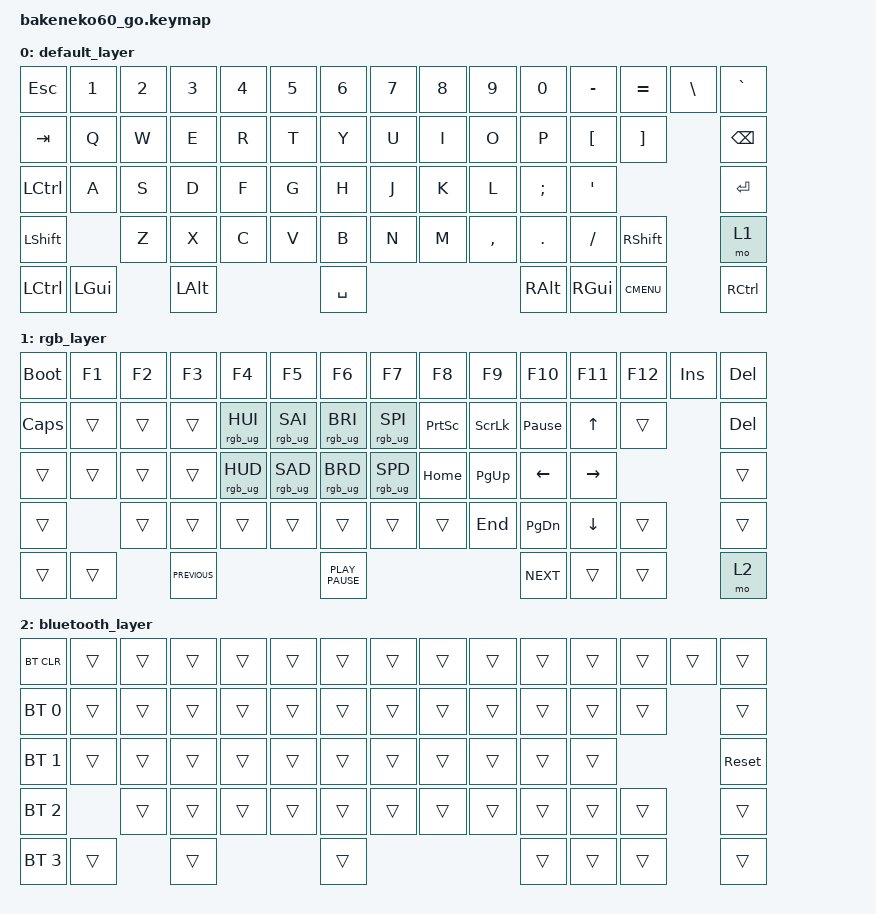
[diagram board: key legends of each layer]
/*
 * Copyright (c) 2023 Andrew Kannan
 *
 * SPDX-License-Identifier: MIT
 */

#include <behaviors.dtsi>
#include <dt-bindings/zmk/bt.h>
#include <dt-bindings/zmk/keys.h>
#include <dt-bindings/zmk/rgb.h>

/ {
    keymap {
        compatible = "zmk,keymap";

        default_layer {
            // ------------------------------------------------------------------------------------------
            // | ESC |  1  |  2  |  3  |  4  |  5  |  6  |  7  |  8  |  9  |  0  |  -  |  =  | BKSP|BKSP|
            // | TAB  |  Q  |  W  |  E  |  R  |  T  |  Y  |  U  |  I  |  O  |  P  |  [  |  ]  |   "|"   |
            // | CAPS  |  A  |  S  |  D  |  F  |  G  |  H  |  J  |  K  |  L  |  ;  |  '  |     ENTER    |
            // |  SHIFT  |  Z  |  X  |  C  |  V  |  B  |  N  |  M  |  ,  |  .  |  /  |  SHIFT  | MO(1)  |
            // |  CTL  |  WIN  |  ALT  |            SPACE              |  ALT  |  WIN  |  MO(1) |  CTL  |
            // ------------------------------------------------------------------------------------------

            bindings = <
&kp ESCAPE        &kp N1    &kp N2  &kp N3    &kp N4  &kp N5  &kp N6     &kp N7  &kp N8  &kp N9     &kp N0    &kp MINUS  &kp EQUAL    &kp BSLH  &kp GRAVE
&kp TAB           &kp Q     &kp W   &kp E     &kp R   &kp T   &kp Y      &kp U   &kp I   &kp O      &kp P     &kp LBKT   &kp RBKT               &kp BACKSPACE
&kp LEFT_CONTROL  &kp A     &kp S   &kp D     &kp F   &kp G   &kp H      &kp J   &kp K   &kp L      &kp SEMI  &kp SQT                           &kp RET
&kp LSHFT                   &kp Z   &kp X     &kp C   &kp V   &kp B      &kp N   &kp M   &kp COMMA  &kp DOT   &kp FSLH   &kp RSHFT              &mo 1
&kp LCTRL         &kp LGUI          &kp LALT                  &kp SPACE                             &kp RALT  &kp RGUI   &kp K_CMENU            &kp RCTRL
            >;
        };

        rgb_layer {
            // ------------------------------------------------------------------------------------------------
            // |    `   | F1  | F2  | F3  | F4  | F5  | F6  | F7  | F8  | F9  | F10  | F11 | F12 |     | DEL  |
            // | EFCT REV|   |  UP |   | HUEUP | SATUP | BRIUP | SPDUP |      |  PGUP |    |     |    |       |
            // | EFCT FWD | LT |  DN  | RT | HUEDN | SATDN | BRIDN | SPDDN | HOME | PGDN | END  |  | BOOTLDR  |
            // |             |     |      |      |     |     |     |     |     |     |     |         |        |
            // |         |      |      |             TOG RGB                | PRT SCR |       |       |  MO(2)|
            // ------------------------------------------------------------------------------------------------

            bindings = <
&bootloader   &kp F1  &kp F2  &kp F3          &kp F4           &kp F5           &kp F6            &kp F7           &kp F8           &kp F9          &kp F10          &kp F11          &kp F12  &kp INSERT  &kp DELETE
&kp CAPSLOCK  &trans  &trans  &trans          &rgb_ug RGB_HUI  &rgb_ug RGB_SAI  &rgb_ug RGB_BRI   &rgb_ug RGB_SPI  &kp PRINTSCREEN  &kp SCROLLLOCK  &kp PAUSE_BREAK  &kp UP_ARROW     &trans               &kp DELETE
&trans        &trans  &trans  &trans          &rgb_ug RGB_HUD  &rgb_ug RGB_SAD  &rgb_ug RGB_BRD   &rgb_ug RGB_SPD  &kp HOME         &kp PG_UP       &kp LEFT_ARROW   &kp RIGHT_ARROW                       &trans
&trans                &trans  &trans          &trans           &trans           &trans            &trans           &trans           &kp END         &kp PG_DN        &kp DOWN_ARROW   &trans               &trans
&trans        &trans          &kp K_PREVIOUS                                    &kp K_PLAY_PAUSE                                                    &kp K_NEXT       &trans           &trans               &mo 2
            >;
        };

        bluetooth_layer {
            // ------------------------------------------------------------------------------------------------
            // | BT CLR |     |     |     |     |     |     |     |     |     |     |    |    |       |       |
            // |  BT 1   |   |     |   |       |       |       |       |   |     |    |     |     |           |
            // |   BT 2   |    |      |    |       |       |       |       |      |      |      |  |   Reset  |
            // |    BT 3     |     |      |      |     |     |     |     |     |     |     |         |        |
            // |   BT 4  |      |      |                                    |         |       |       |       |
            // ------------------------------------------------------------------------------------------------

            bindings = <
&bt BT_CLR    &trans  &trans  &trans  &trans  &trans  &trans  &trans  &trans  &trans  &trans  &trans  &trans  &trans  &trans
&bt BT_SEL 0  &trans  &trans  &trans  &trans  &trans  &trans  &trans  &trans  &trans  &trans  &trans  &trans          &trans
&bt BT_SEL 1  &trans  &trans  &trans  &trans  &trans  &trans  &trans  &trans  &trans  &trans  &trans                  &sys_reset
&bt BT_SEL 2          &trans  &trans  &trans  &trans  &trans  &trans  &trans  &trans  &trans  &trans  &trans          &trans
&bt BT_SEL 3  &trans          &trans                  &trans                          &trans  &trans  &trans          &trans
            >;
        };
    };

    combos {
        compatible = "zmk,combos";

        combo_bt {
            timeout-ms = <50>;
            key-positions = <61 62>;
            bindings = <&mo 2>;
        };
    };
};
